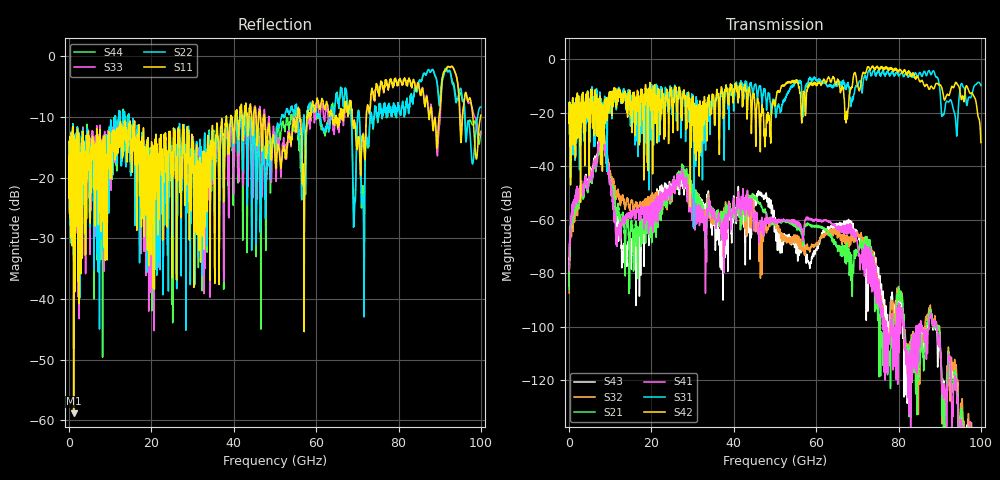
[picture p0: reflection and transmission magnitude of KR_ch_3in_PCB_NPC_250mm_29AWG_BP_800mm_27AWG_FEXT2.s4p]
! Created Thu Mar  2 12:31:34 2023
# ghz S ma R 45
! 4 Port Network Data from SP1.SP block
! freq  magS11  angS11  magS12  angS12  magS13  angS13  magS14  angS14
!  magS21  angS21  magS22  angS22  magS23  angS23  magS24  angS24
!  magS31  angS31  magS32  angS32  magS33  angS33  magS34  angS34
!  magS41  angS41  magS42  angS42  magS43  angS43  magS44  angS44
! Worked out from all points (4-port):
!   4000 points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, 25 MHz to 100 GHz, reference 45 ohm
!   strongest paths, dB at 25 MHz, 25.02 GHz, 50.02 GHz, 75.03 GHz, 100 GHz:
!     S42: -21.0, -16.6, -17.2, -3.3, -31.1
!     S31: -21.1, -18.1, -18.0, -4.1, -9.7
!     S41: -79.0, -48.2, -61.5, -88.8, -145.3
!     S21: -86.1, -49.5, -61.8, -93.8, -147.6
!     S32: -87.5, -51.2, -61.0, -84.5, -139.3
!     S43: -84.9, -47.2, -59.6, -81.8, -139.4
!   lowest |S11| = -58.8 dB at 1.125 GHz (marker M1), VSWR 1.00, Z = 45 + j0.101 ohm
!   |S11| at or under -10 dB: start of sweep to 38.16 GHz; 47.47 GHz to 55.53 GHz (8.061 GHz wide, 15.7 % of centre); 68.77 GHz to 72.17 GHz (3.401 GHz wide, 4.83 % of centre) (the widest 3 of 25)
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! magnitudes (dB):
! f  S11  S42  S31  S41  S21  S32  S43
! 25 MHz  -16.4  -21.0  -21.1  -79.0  -86.1  -87.5  -84.9
! 1.125 GHz  -58.8  -26.7  -25.8  -52.7  -54.6  -56.6  -53.9
! 8.125 GHz  -15.4  -32.7  -27.8  -26.4  -28.4  -26.9  -25.2
! 13.3 GHz  -13.7  -13.7  -12.7  -59.7  -60.4  -52.3  -68.9
! 27.38 GHz  -17.1  -19.3  -20.7  -41.5  -39.8  -40.4  -43.2
! 77.15 GHz  -4.3  -3.4  -4.6  -110.6  -108.4  -102.6  -98.6
! 100 GHz  -9.7  -31.1  -9.7  -145.3  -147.6  -139.3  -139.4
